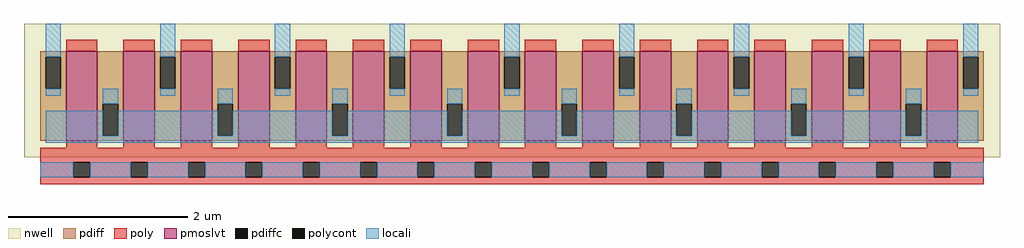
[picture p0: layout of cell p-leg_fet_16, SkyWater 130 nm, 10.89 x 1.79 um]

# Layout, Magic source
magic
tech sky130A
magscale 1 2
<< nwell >>
rect -1089 -100 1089 198
<< pmoslvt >>
rect -995 -64 -925 136
rect -867 -64 -797 136
rect -739 -64 -669 136
rect -611 -64 -541 136
rect -483 -64 -413 136
rect -355 -64 -285 136
rect -227 -64 -157 136
rect -99 -64 -29 136
rect 29 -64 99 136
rect 157 -64 227 136
rect 285 -64 355 136
rect 413 -64 483 136
rect 541 -64 611 136
rect 669 -64 739 136
rect 797 -64 867 136
rect 925 -64 995 136
<< pdiff >>
rect -1053 124 -995 136
rect -1053 53 -1041 124
rect -1007 53 -995 124
rect -1053 -64 -995 53
rect -925 19 -867 136
rect -925 -52 -913 19
rect -879 -52 -867 19
rect -925 -64 -867 -52
rect -797 124 -739 136
rect -797 53 -785 124
rect -751 53 -739 124
rect -797 -64 -739 53
rect -669 19 -611 136
rect -669 -52 -657 19
rect -623 -52 -611 19
rect -669 -64 -611 -52
rect -541 124 -483 136
rect -541 53 -529 124
rect -495 53 -483 124
rect -541 -64 -483 53
rect -413 19 -355 136
rect -413 -52 -401 19
rect -367 -52 -355 19
rect -413 -64 -355 -52
rect -285 124 -227 136
rect -285 53 -273 124
rect -239 53 -227 124
rect -285 -64 -227 53
rect -157 19 -99 136
rect -157 -52 -145 19
rect -111 -52 -99 19
rect -157 -64 -99 -52
rect -29 124 29 136
rect -29 53 -17 124
rect 17 53 29 124
rect -29 -64 29 53
rect 99 19 157 136
rect 99 -52 111 19
rect 145 -52 157 19
rect 99 -64 157 -52
rect 227 124 285 136
rect 227 53 239 124
rect 273 53 285 124
rect 227 -64 285 53
rect 355 19 413 136
rect 355 -52 367 19
rect 401 -52 413 19
rect 355 -64 413 -52
rect 483 124 541 136
rect 483 53 495 124
rect 529 53 541 124
rect 483 -64 541 53
rect 611 19 669 136
rect 611 -52 623 19
rect 657 -52 669 19
rect 611 -64 669 -52
rect 739 124 797 136
rect 739 53 751 124
rect 785 53 797 124
rect 739 -64 797 53
rect 867 19 925 136
rect 867 -52 879 19
rect 913 -52 925 19
rect 867 -64 925 -52
rect 995 124 1053 136
rect 995 53 1007 124
rect 1041 53 1053 124
rect 995 -64 1053 53
<< pdiffc >>
rect -1041 53 -1007 124
rect -913 -52 -879 19
rect -785 53 -751 124
rect -657 -52 -623 19
rect -529 53 -495 124
rect -401 -52 -367 19
rect -273 53 -239 124
rect -145 -52 -111 19
rect -17 53 17 124
rect 111 -52 145 19
rect 239 53 273 124
rect 367 -52 401 19
rect 495 53 529 124
rect 623 -52 657 19
rect 751 53 785 124
rect 879 -52 913 19
rect 1007 53 1041 124
<< poly >>
rect -995 136 -925 162
rect -867 136 -797 162
rect -739 136 -669 162
rect -611 136 -541 162
rect -483 136 -413 162
rect -355 136 -285 162
rect -227 136 -157 162
rect -99 136 -29 162
rect 29 136 99 162
rect 157 136 227 162
rect 285 136 355 162
rect 413 136 483 162
rect 541 136 611 162
rect 669 136 739 162
rect 797 136 867 162
rect 925 136 995 162
rect -995 -79 -925 -64
rect -867 -79 -797 -64
rect -739 -79 -669 -64
rect -611 -79 -541 -64
rect -483 -79 -413 -64
rect -355 -79 -285 -64
rect -227 -79 -157 -64
rect -99 -79 -29 -64
rect 29 -79 99 -64
rect 157 -79 227 -64
rect 285 -79 355 -64
rect 413 -79 483 -64
rect 541 -79 611 -64
rect 669 -79 739 -64
rect 797 -79 867 -64
rect 925 -79 995 -64
rect -1053 -111 1053 -79
rect -1053 -145 -979 -111
rect -941 -145 -851 -111
rect -813 -145 -723 -111
rect -685 -145 -595 -111
rect -557 -145 -467 -111
rect -429 -145 -339 -111
rect -301 -145 -211 -111
rect -173 -145 -83 -111
rect -45 -145 45 -111
rect 83 -145 173 -111
rect 211 -145 301 -111
rect 339 -145 429 -111
rect 467 -145 557 -111
rect 595 -145 685 -111
rect 723 -145 813 -111
rect 851 -145 941 -111
rect 979 -145 1053 -111
rect -1053 -161 1053 -145
<< polycont >>
rect -979 -145 -941 -111
rect -851 -145 -813 -111
rect -723 -145 -685 -111
rect -595 -145 -557 -111
rect -467 -145 -429 -111
rect -339 -145 -301 -111
rect -211 -145 -173 -111
rect -83 -145 -45 -111
rect 45 -145 83 -111
rect 173 -145 211 -111
rect 301 -145 339 -111
rect 429 -145 467 -111
rect 557 -145 595 -111
rect 685 -145 723 -111
rect 813 -145 851 -111
rect 941 -145 979 -111
<< locali >>
rect -1041 124 -1007 198
rect -1041 37 -1007 53
rect -785 124 -751 198
rect -913 19 -879 52
rect -785 37 -751 53
rect -529 124 -495 198
rect -1041 -52 -913 3
rect -657 19 -623 52
rect -529 37 -495 53
rect -273 124 -239 198
rect -879 -52 -657 3
rect -401 19 -367 52
rect -273 37 -239 53
rect -17 124 17 198
rect -623 -52 -401 3
rect -145 19 -111 52
rect -17 37 17 53
rect 239 124 273 198
rect -367 -52 -145 3
rect 111 19 145 52
rect 239 37 273 53
rect 495 124 529 198
rect -111 -52 111 3
rect 367 19 401 52
rect 495 37 529 53
rect 751 124 785 198
rect 145 -52 367 3
rect 623 19 657 52
rect 751 37 785 53
rect 1007 124 1041 198
rect 401 -52 623 3
rect 879 19 913 52
rect 1007 37 1041 53
rect 657 -52 879 3
rect 913 -52 1041 3
rect -1041 -68 1041 -52
rect -1053 -145 -979 -111
rect -941 -145 -851 -111
rect -813 -145 -723 -111
rect -685 -145 -595 -111
rect -557 -145 -467 -111
rect -429 -145 -339 -111
rect -301 -145 -211 -111
rect -173 -145 -83 -111
rect -45 -145 45 -111
rect 83 -145 173 -111
rect 211 -145 301 -111
rect 339 -145 429 -111
rect 467 -145 557 -111
rect 595 -145 685 -111
rect 723 -145 813 -111
rect 851 -145 941 -111
rect 979 -145 1053 -111
<< properties >>
string gencell sky130_fd_pr__pfet_01v8_lvt
string library sky130
string parameters w 1.0 l 0.35 m 1 nf 16 diffcov 100 polycov 100 guard 0 glc 0 grc 0 gtc 0 gbc 0 tbcov 100 rlcov 100 topc 0 botc 1 poverlap 0 doverlap 1 lmin 0.35 wmin 0.42 compatible {sky130_fd_pr__pfet_01v8  sky130_fd_pr__pfet_01v8_lvt sky130_fd_pr__pfet_01v8_hvt  sky130_fd_pr__pfet_g5v0d10v5} full_metal 0 viasrc 100 viadrn 100 viagate 100 viagb 0 viagr 0 viagl 0 viagt 0
<< end >>
